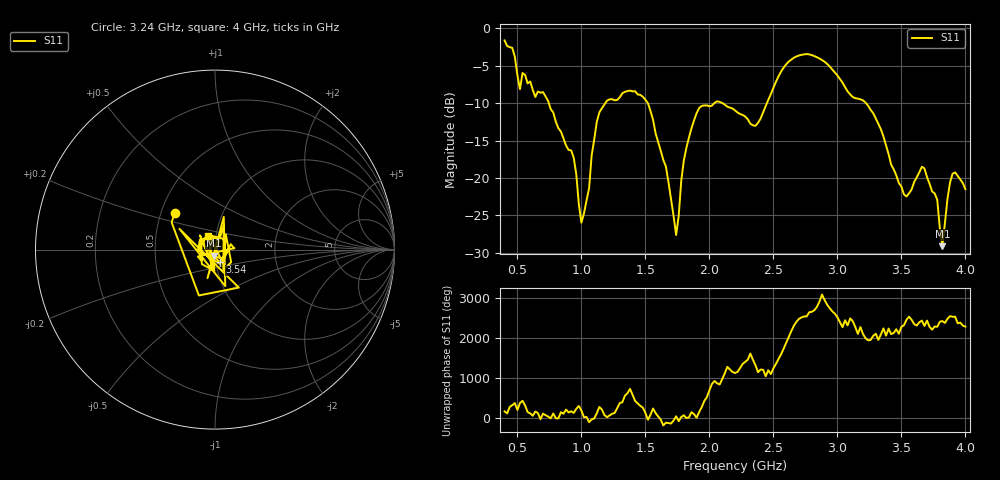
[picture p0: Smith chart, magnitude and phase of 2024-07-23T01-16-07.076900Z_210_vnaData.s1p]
!Created with skrf (http://scikit-rf.org).
# Hz S RI R 50.0
!freq ReS11 ImS11
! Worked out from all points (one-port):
!   181 points, 400 MHz to 4 GHz, reference 50 ohm
!   lowest |S11| = -29.1 dB at 3.82 GHz (marker M1), VSWR 1.07, Z = 49.1 - j3.36 ohm
!   |S11| at or under -10 dB: 745.4 MHz to 1.187 GHz (441.6 MHz wide, 45.7 % of centre); 1.519 GHz to 2.038 GHz (519.6 MHz wide, 29.2 % of centre); 3.224 GHz to end of sweep (the widest 3 of 4)
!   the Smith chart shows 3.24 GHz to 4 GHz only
!   S11 on the Smith chart (normalised r, x): 3.24 GHz: 0.59, +0.26; 3.54 GHz: 1.04, -0.15; 4 GHz: 0.91, +0.14
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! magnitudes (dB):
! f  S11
! 400 MHz  -1.6
! 460 MHz  -2.6
! 520 MHz  -8.1
! 540 MHz  -6.0
! 700 MHz  -8.5
! 860 MHz  -14.7
! 940 MHz  -17.3
! 1 GHz  -26.0
! 1.14 GHz  -11.3
! 1.3 GHz  -9.2
! 1.52 GHz  -10.0
! 1.66 GHz  -18.5
! 1.74 GHz  -27.6
! 1.76 GHz  -25.1
! 1.8 GHz  -17.7
! 1.92 GHz  -10.7
! 2.2 GHz  -11.0
! 2.36 GHz  -13.0
! 2.66 GHz  -3.9
! 3.1 GHz  -8.8
! 3.24 GHz  -10.3
! 3.54 GHz  -22.5
! 3.56 GHz  -22.0
! 3.68 GHz  -18.7
! 3.78 GHz  -22.9
! 3.82 GHz  -29.1
! 3.9 GHz  -19.4
! 4 GHz  -21.5
